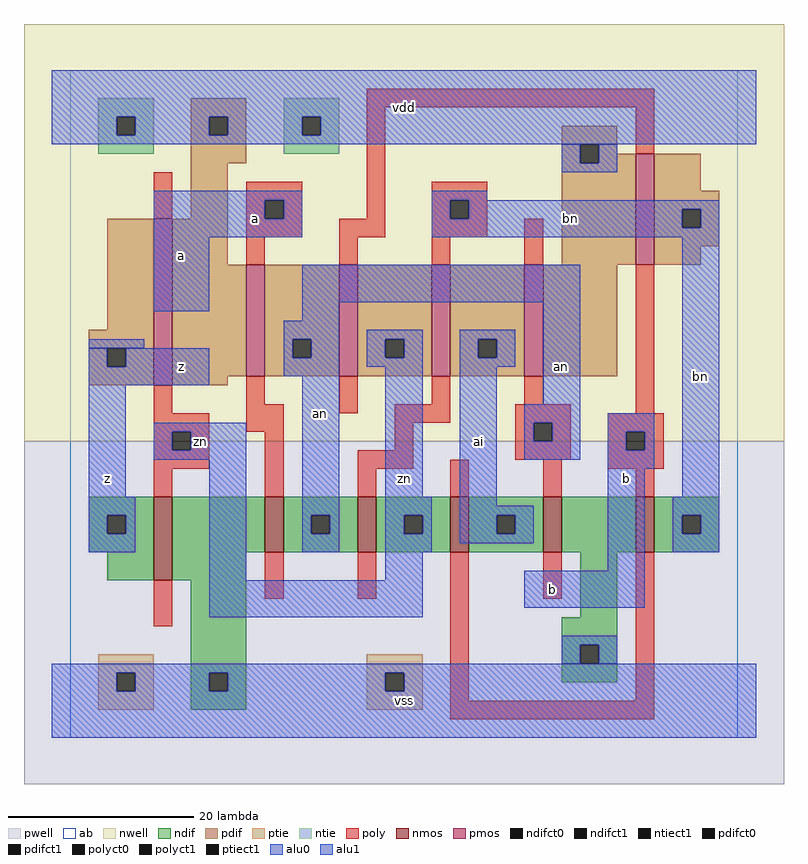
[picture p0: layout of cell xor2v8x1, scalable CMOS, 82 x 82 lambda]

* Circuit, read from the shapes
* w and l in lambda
.subckt xor2v8x1 a ai an b bn vdd vss z zn
M1 vss zn z vss nfet w=9 l=2
M2 an a vss vss nfet w=6 l=2
M3 zn bn an vss nfet w=6 l=2
M4 ai b zn vss nfet w=6 l=2
M5 vss an ai vss nfet w=6 l=2
M6 bn b vss vss nfet w=6 l=2
M7 vdd zn z vdd pfet w=18 l=2
M8 an a vdd vdd pfet w=12 l=2
M9 zn b an vdd pfet w=12 l=2
M10 ai bn zn vdd pfet w=12 l=2
M11 vdd an ai vdd pfet w=12 l=2
M12 bn b vdd vdd pfet w=12 l=2
.ends

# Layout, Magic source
magic
tech scmos
<< ab >>
rect 0 0 72 72
<< nwell >>
rect -5 32 77 77
<< pwell >>
rect -5 -5 77 32
<< poly >>
rect 32 68 63 70
rect 9 56 11 61
rect 19 58 25 60
rect 19 56 21 58
rect 23 56 25 58
rect 32 56 34 68
rect 61 63 63 68
rect 19 54 25 56
rect 29 54 34 56
rect 39 58 45 60
rect 39 56 41 58
rect 43 56 45 58
rect 39 54 45 56
rect 19 51 21 54
rect 29 51 31 54
rect 39 51 41 54
rect 49 51 51 56
rect 9 35 11 38
rect 19 36 21 39
rect 9 33 15 35
rect 19 33 23 36
rect 29 35 31 39
rect 39 36 41 39
rect 49 36 51 39
rect 9 31 11 33
rect 13 31 15 33
rect 9 29 15 31
rect 9 26 11 29
rect 21 26 23 33
rect 35 34 41 36
rect 48 34 54 36
rect 61 35 63 51
rect 35 31 37 34
rect 31 29 37 31
rect 48 32 50 34
rect 52 32 54 34
rect 48 30 54 32
rect 58 33 64 35
rect 58 31 60 33
rect 62 31 64 33
rect 31 26 33 29
rect 41 26 43 30
rect 51 26 53 30
rect 58 29 64 31
rect 61 26 63 29
rect 9 12 11 17
rect 21 15 23 20
rect 31 15 33 20
rect 41 4 43 20
rect 51 15 53 20
rect 61 4 63 20
rect 41 2 63 4
<< ndif >>
rect 2 24 9 26
rect 2 22 4 24
rect 6 22 9 24
rect 2 20 9 22
rect 4 17 9 20
rect 11 20 21 26
rect 23 24 31 26
rect 23 22 26 24
rect 28 22 31 24
rect 23 20 31 22
rect 33 24 41 26
rect 33 22 36 24
rect 38 22 41 24
rect 33 20 41 22
rect 43 24 51 26
rect 43 22 46 24
rect 48 22 51 24
rect 43 20 51 22
rect 53 20 61 26
rect 63 24 70 26
rect 63 22 66 24
rect 68 22 70 24
rect 63 20 70 22
rect 11 17 19 20
rect 13 7 19 17
rect 13 5 15 7
rect 17 5 19 7
rect 13 3 19 5
rect 55 13 59 20
rect 53 10 59 13
rect 53 8 55 10
rect 57 8 59 10
rect 53 6 59 8
<< pdif >>
rect 13 67 19 69
rect 13 65 15 67
rect 17 65 19 67
rect 13 62 19 65
rect 13 56 17 62
rect 4 44 9 56
rect 2 42 9 44
rect 2 40 4 42
rect 6 40 9 42
rect 2 38 9 40
rect 11 51 17 56
rect 53 64 59 66
rect 53 62 55 64
rect 57 63 59 64
rect 57 62 61 63
rect 53 51 61 62
rect 63 59 68 63
rect 63 57 70 59
rect 63 55 66 57
rect 68 55 70 57
rect 63 53 70 55
rect 63 51 68 53
rect 11 39 19 51
rect 21 43 29 51
rect 21 41 24 43
rect 26 41 29 43
rect 21 39 29 41
rect 31 43 39 51
rect 31 41 34 43
rect 36 41 39 43
rect 31 39 39 41
rect 41 43 49 51
rect 41 41 44 43
rect 46 41 49 43
rect 41 39 49 41
rect 51 39 59 51
rect 11 38 17 39
<< alu1 >>
rect -2 67 74 72
rect -2 65 5 67
rect 7 65 15 67
rect 17 65 25 67
rect 27 65 74 67
rect -2 64 74 65
rect 9 58 25 59
rect 9 56 21 58
rect 23 56 25 58
rect 9 54 25 56
rect 9 46 15 54
rect 2 40 4 42
rect 6 40 15 42
rect 2 38 15 40
rect 2 26 6 38
rect 2 24 7 26
rect 2 22 4 24
rect 6 22 7 24
rect 2 20 7 22
rect 58 33 63 35
rect 58 31 60 33
rect 62 31 63 33
rect 58 29 63 31
rect 58 18 62 29
rect 49 14 62 18
rect -2 7 74 8
rect -2 5 5 7
rect 7 5 15 7
rect 17 5 34 7
rect 36 5 74 7
rect -2 0 74 5
<< ptie >>
rect 3 7 9 9
rect 3 5 5 7
rect 7 5 9 7
rect 3 3 9 5
rect 32 7 38 9
rect 32 5 34 7
rect 36 5 38 7
rect 32 3 38 5
<< ntie >>
rect 3 67 9 69
rect 3 65 5 67
rect 7 65 9 67
rect 3 63 9 65
rect 23 67 29 69
rect 23 65 25 67
rect 27 65 29 67
rect 23 63 29 65
<< nmos >>
rect 9 17 11 26
rect 21 20 23 26
rect 31 20 33 26
rect 41 20 43 26
rect 51 20 53 26
rect 61 20 63 26
<< pmos >>
rect 9 38 11 56
rect 61 51 63 63
rect 19 39 21 51
rect 29 39 31 51
rect 39 39 41 51
rect 49 39 51 51
<< polyct0 >>
rect 41 56 43 58
rect 11 31 13 33
rect 50 32 52 34
<< polyct1 >>
rect 21 56 23 58
rect 60 31 62 33
<< ndifct0 >>
rect 26 22 28 24
rect 36 22 38 24
rect 46 22 48 24
rect 66 22 68 24
rect 55 8 57 10
<< ndifct1 >>
rect 4 22 6 24
rect 15 5 17 7
<< ntiect1 >>
rect 5 65 7 67
rect 25 65 27 67
<< ptiect1 >>
rect 5 5 7 7
rect 34 5 36 7
<< pdifct0 >>
rect 55 62 57 64
rect 66 55 68 57
rect 24 41 26 43
rect 34 41 36 43
rect 44 41 46 43
<< pdifct1 >>
rect 15 65 17 67
rect 4 40 6 42
<< alu0 >>
rect 53 62 55 64
rect 57 62 59 64
rect 53 61 59 62
rect 39 58 45 59
rect 39 56 41 58
rect 43 57 70 58
rect 43 56 66 57
rect 39 55 66 56
rect 68 55 70 57
rect 39 54 70 55
rect 25 47 55 51
rect 25 45 29 47
rect 23 43 29 45
rect 2 42 8 43
rect 23 41 24 43
rect 26 41 29 43
rect 23 39 29 41
rect 32 43 38 44
rect 32 41 34 43
rect 36 41 38 43
rect 32 40 38 41
rect 9 33 19 34
rect 9 31 11 33
rect 13 31 19 33
rect 9 30 19 31
rect 15 17 19 30
rect 25 24 29 39
rect 25 22 26 24
rect 28 22 29 24
rect 25 20 29 22
rect 34 26 38 40
rect 42 43 48 44
rect 42 41 44 43
rect 46 41 48 43
rect 42 40 48 41
rect 34 24 39 26
rect 34 22 36 24
rect 38 22 39 24
rect 34 20 39 22
rect 42 25 46 40
rect 51 36 55 47
rect 49 34 55 36
rect 49 32 50 34
rect 52 32 55 34
rect 49 30 55 32
rect 42 24 50 25
rect 42 22 46 24
rect 48 22 50 24
rect 42 21 50 22
rect 34 17 38 20
rect 66 26 70 54
rect 65 24 70 26
rect 65 22 66 24
rect 68 22 70 24
rect 65 20 70 22
rect 15 13 38 17
rect 53 10 59 11
rect 53 8 55 10
rect 57 8 59 10
<< labels >>
rlabel alu0 14 32 14 32 6 zn
rlabel alu0 27 35 27 35 6 an
rlabel alu0 44 32 44 32 6 ai
rlabel alu0 36 28 36 28 6 zn
rlabel alu0 53 40 53 40 6 an
rlabel alu0 54 56 54 56 6 bn
rlabel alu0 68 39 68 39 6 bn
rlabel alu1 4 28 4 28 6 z
rlabel alu1 12 40 12 40 6 z
rlabel alu1 12 52 12 52 6 a
rlabel alu1 20 56 20 56 6 a
rlabel alu1 36 4 36 4 6 vss
rlabel alu1 52 16 52 16 6 b
rlabel alu1 36 68 36 68 6 vdd
rlabel alu1 60 28 60 28 6 b
<< end >>
